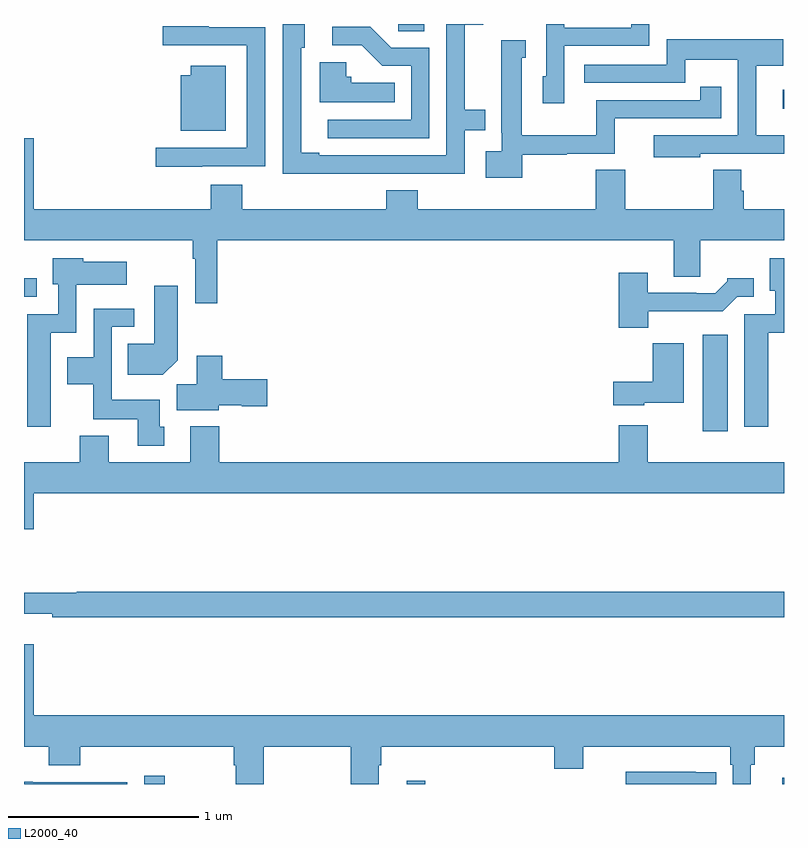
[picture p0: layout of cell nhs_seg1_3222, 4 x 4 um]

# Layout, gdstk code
import gdstk
lib = gdstk.Library(unit=1e-6, precision=1e-09)
def R(c, l, rs):  # rectangles x0, y0, x1, y1
    for r in rs: c.add(gdstk.rectangle(r[:2], r[2:], *l))
def P(c, l, *ps):  # polygons
    for p in ps: c.add(gdstk.Polygon(p, *l))
L2000_40 = (2000, 40)

nhs_seg1_3222 = lib.new_cell('nhs_seg1_3222')
R(nhs_seg1_3222, L2000_40, [(285.633,554.199,285.742,554.242), (287.015,554.199,287.112,554.215), (288.992,554.199,289,554.233), (288.572,556.056,288.703,556.564), (285,556.764,285.067,556.861), (288.993,557.753,289,557.854), (286.969,558.16,287.107,558.199)])
P(nhs_seg1_3222, L2000_40, [(287.844,558.084),(288.291,558.084),(288.291,558.199),(288.195,558.199),(288.195,558.18),(287.844,558.18),(287.844,558.199),(287.748,558.199),(287.748,557.925),(287.729,557.925),(287.729,557.781),(287.844,557.781)],
  [(286.823,557.412),(287.319,557.412),(287.319,557.64),(287.428,557.64),(287.428,557.749),(287.321,557.749),(287.321,558.195),(287.416,558.195),(287.416,558.199),(287.223,558.199),(287.223,557.508),(286.555,557.508),(286.555,557.521),(286.458,557.521),(286.458,558.075),(286.477,558.075),(286.477,558.199),(286.362,558.199),(286.362,557.411),(286.823,557.411)],
  [(285.937,557.451),(286.269,557.451),(286.269,558.183),(285.973,558.183),(285.973,558.187),(285.729,558.187),(285.729,558.087),(286.173,558.087),(286.173,557.547),(285.693,557.547),(285.693,557.447),(285.937,557.447)],
  [(287.133,558.075),(286.932,558.075),(286.822,558.185),(286.623,558.185),(286.623,558.087),(286.778,558.087),(286.886,557.979),(287.037,557.979),(287.037,557.694),(286.599,557.694),(286.599,557.598),(287.133,557.598)],
  [(288.559,557.517),(289,557.517),(289,557.614),(288.853,557.614),(288.853,557.978),(288.995,557.978),(288.995,558.118),(288.384,558.118),(288.384,557.985),(287.949,557.985),(287.949,557.889),(288.377,557.889),(288.377,557.89),(288.48,557.89),(288.48,558.011),(288.756,558.011),(288.756,557.613),(288.315,557.613),(288.315,557.498),(288.559,557.498)],
  [(287.623,557.512),(287.856,557.512),(287.856,557.517),(288.11,557.517),(288.11,557.703),(288.671,557.703),(288.671,557.869),(288.558,557.869),(288.558,557.799),(288.011,557.799),(288.011,557.614),(287.62,557.614),(287.62,558.021),(287.641,558.021),(287.641,558.114),(287.513,558.114),(287.513,557.626),(287.514,557.626),(287.514,557.53),(287.43,557.53),(287.43,557.39),(287.623,557.39)],
  [(286.952,557.89),(286.722,557.89),(286.722,557.922),(286.696,557.922),(286.696,557.998),(286.556,557.998),(286.556,557.786),(286.952,557.786)],
  [(286.063,557.98),(285.878,557.98),(285.878,557.929),(285.824,557.929),(285.824,557.636),(286.063,557.636)],
  [(286.016,557.06),(288.419,557.06),(288.419,556.87),(288.559,556.87),(288.559,557.06),(289,557.06),(289,557.224),(288.788,557.224),(288.788,557.322),(288.775,557.322),(288.775,557.432),(288.628,557.432),(288.628,557.224),(288.165,557.224),(288.165,557.432),(288.01,557.432),(288.01,557.224),(287.072,557.224),(287.072,557.323),(286.907,557.323),(286.907,557.224),(286.148,557.224),(286.148,557.353),(285.983,557.353),(285.983,557.224),(285.052,557.224),(285.052,557.599),(285,557.599),(285,557.06),(285.888,557.06),(285.888,556.964),(285.9,556.964),(285.9,556.728),(286.016,556.728)],
  [(288.916,556.574),(289,556.574),(289,556.966),(288.926,556.966),(288.926,556.794),(288.954,556.794),(288.954,556.671),(288.791,556.671),(288.791,556.08),(288.916,556.08)],
  [(285.142,556.574),(285.276,556.574),(285.276,556.826),(285.541,556.826),(285.541,556.948),(285.312,556.948),(285.312,556.966),(285.152,556.966),(285.152,556.83),(285.18,556.83),(285.18,556.671),(285.017,556.671),(285.017,556.08),(285.142,556.08)],
  [(288.286,556.688),(288.677,556.688),(288.753,556.764),(288.841,556.764),(288.841,556.861),(288.702,556.861),(288.702,556.846),(288.638,556.782),(288.539,556.782),(288.539,556.785),(288.283,556.785),(288.283,556.891),(288.131,556.891),(288.131,556.601),(288.286,556.601)],
  [(285.808,556.43),(285.808,556.822),(285.686,556.822),(285.686,556.516),(285.547,556.516),(285.547,556.352),(285.73,556.352)],
  [(285.739,556.08),(285.715,556.08),(285.715,556.222),(285.462,556.222),(285.462,556.605),(285.58,556.605),(285.58,556.701),(285.366,556.701),(285.366,556.444),(285.227,556.444),(285.227,556.304),(285.364,556.304),(285.364,556.118),(285.599,556.118),(285.599,555.978),(285.739,555.978)],
  [(288.264,556.205),(288.472,556.205),(288.472,556.519),(288.31,556.519),(288.31,556.315),(288.102,556.315),(288.102,556.193),(288.264,556.193)],
  [(286.026,556.193),(286.146,556.193),(286.146,556.186),(286.279,556.186),(286.279,556.328),(286.043,556.328),(286.043,556.453),(285.908,556.453),(285.908,556.304),(285.803,556.304),(285.803,556.166),(286.026,556.166)],
  [(285.052,555.728),(289,555.728),(289,555.892),(288.283,555.892),(288.283,556.087),(288.131,556.087),(288.131,555.892),(286.028,555.892),(286.028,556.081),(285.875,556.081),(285.875,555.892),(285.445,555.892),(285.445,556.033),(285.293,556.033),(285.293,555.892),(285,555.892),(285,555.54),(285.052,555.54)],
  [(289,555.212),(285.278,555.212),(285.278,555.205),(285,555.205),(285,555.095),(285.148,555.095),(285.148,555.076),(289,555.076)],
  [(286.263,554.396),(286.72,554.396),(286.72,554.199),(286.867,554.199),(286.867,554.298),(286.88,554.298),(286.88,554.396),(287.792,554.396),(287.792,554.279),(287.944,554.279),(287.944,554.396),(288.716,554.396),(288.716,554.3),(288.729,554.3),(288.729,554.199),(288.826,554.199),(288.826,554.3),(288.845,554.3),(288.845,554.396),(289,554.396),(289,554.56),(285.052,554.56),(285.052,554.935),(285,554.935),(285,554.396),(285.131,554.396),(285.131,554.297),(285.296,554.297),(285.296,554.396),(286.103,554.396),(286.103,554.298),(286.115,554.298),(286.115,554.199),(286.263,554.199)],
  [(288.644,554.262),(288.536,554.262),(288.536,554.263),(288.168,554.263),(288.168,554.199),(288.644,554.199)],
  [(285.543,554.208),(285.047,554.208),(285.047,554.21),(285,554.21),(285,554.199),(285.543,554.199)])

lib.write_gds('nhs_seg1_3222.gds')
